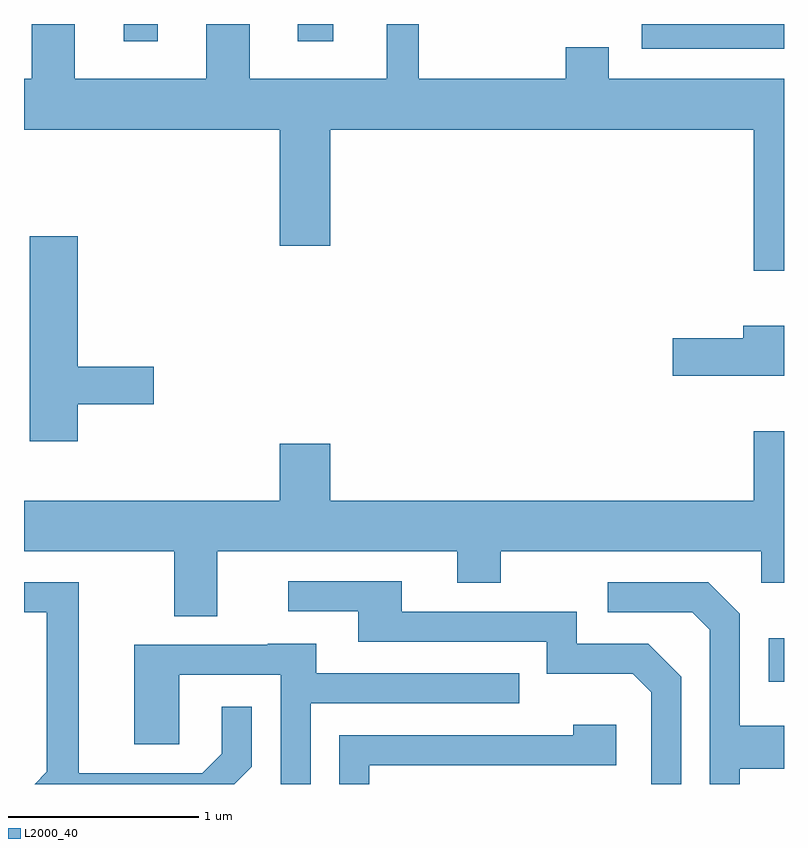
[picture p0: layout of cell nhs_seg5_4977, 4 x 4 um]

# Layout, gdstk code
import gdstk
lib = gdstk.Library(unit=1e-6, precision=1e-09)
def R(c, l, rs):  # rectangles x0, y0, x1, y1
    for r in rs: c.add(gdstk.rectangle(r[:2], r[2:], *l))
def P(c, l, *ps):  # polygons
    for p in ps: c.add(gdstk.Polygon(p, *l))
L2000_40 = (2000, 40)

nhs_seg5_4977 = lib.new_cell('nhs_seg5_4977')
R(nhs_seg5_4977, L2000_40, [(337.531,1400.611,337.611,1400.839), (336.861,1403.941,337.611,1404.072), (334.136,1403.981,334.314,1404.072), (335.051,1403.981,335.239,1404.072)])
P(nhs_seg5_4977, L2000_40, [(337.611,1403.784),(336.689,1403.784),(336.689,1403.949),(336.461,1403.949),(336.461,1403.784),(335.689,1403.784),(335.689,1404.072),(335.521,1404.072),(335.521,1403.784),(334.799,1403.784),(334.799,1404.072),(334.571,1404.072),(334.571,1403.784),(333.879,1403.784),(333.879,1404.072),(333.651,1404.072),(333.651,1403.784),(333.611,1403.784),(333.611,1403.516),(334.956,1403.516),(334.956,1402.906),(335.224,1402.906),(335.224,1403.516),(337.451,1403.516),(337.451,1402.773),(337.611,1402.773)],
  [(333.894,1402.071),(334.294,1402.071),(334.294,1402.269),(333.894,1402.269),(333.894,1402.954),(333.641,1402.954),(333.641,1401.876),(333.894,1401.876)],
  [(337.611,1402.484),(337.396,1402.484),(337.396,1402.419),(337.026,1402.419),(337.026,1402.221),(337.611,1402.221)],
  [(334.629,1401.296),(335.891,1401.296),(335.891,1401.131),(336.119,1401.131),(336.119,1401.296),(337.491,1401.296),(337.491,1401.131),(337.611,1401.131),(337.611,1401.928),(337.451,1401.928),(337.451,1401.564),(335.224,1401.564),(335.224,1401.864),(334.956,1401.864),(334.956,1401.564),(333.611,1401.564),(333.611,1401.296),(334.401,1401.296),(334.401,1400.956),(334.629,1400.956)],
  [(337.069,1400.637),(336.897,1400.809),(336.519,1400.809),(336.519,1400.979),(335.599,1400.979),(335.599,1401.139),(335.003,1401.139),(335.003,1400.981),(335.371,1400.981),(335.371,1400.821),(336.361,1400.821),(336.361,1400.651),(336.814,1400.651),(336.911,1400.554),(336.911,1400.072),(337.069,1400.072)],
  [(334.809,1400.164),(334.809,1400.478),(334.651,1400.478),(334.651,1400.232),(334.549,1400.129),(333.899,1400.129),(333.899,1401.134),(333.611,1401.134),(333.611,1400.976),(333.731,1400.976),(333.731,1400.137),(333.667,1400.072),(334.717,1400.072)],
  [(337.379,1400.151),(337.611,1400.151),(337.611,1400.379),(337.379,1400.379),(337.379,1400.967),(337.212,1401.134),(336.683,1401.134),(336.683,1400.976),(337.129,1400.976),(337.221,1400.884),(337.221,1400.072),(337.379,1400.072)],
  [(335.119,1400.496),(336.218,1400.496),(336.218,1400.654),(335.149,1400.654),(335.149,1400.809),(334.895,1400.809),(334.895,1400.804),(334.191,1400.804),(334.191,1400.281),(334.429,1400.281),(334.429,1400.646),(334.961,1400.646),(334.961,1400.072),(335.119,1400.072)],
  [(335.429,1400.171),(336.729,1400.171),(336.729,1400.384),(336.501,1400.384),(336.501,1400.329),(335.271,1400.329),(335.271,1400.072),(335.429,1400.072)])

lib.write_gds('nhs_seg5_4977.gds')
